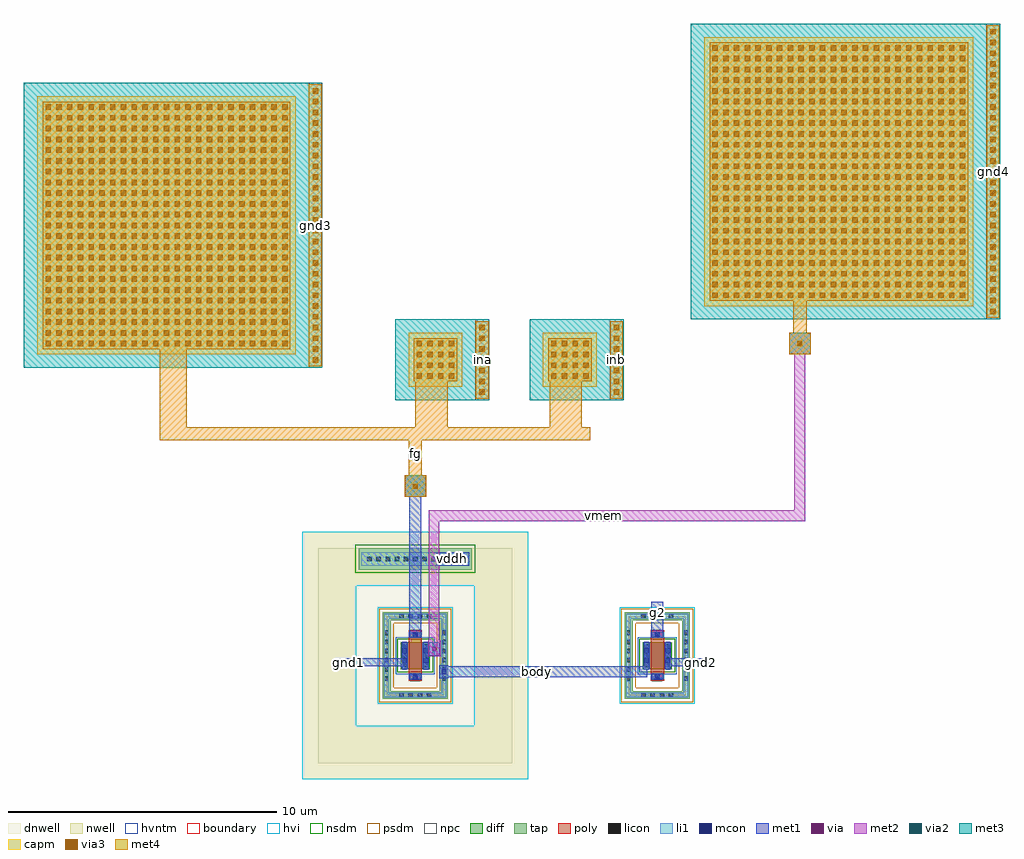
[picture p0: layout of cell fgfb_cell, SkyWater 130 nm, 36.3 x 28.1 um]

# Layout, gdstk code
import gdstk
lib = gdstk.Library(unit=1e-6, precision=1e-09)
def R(c, l, rs):  # rectangles x0, y0, x1, y1
    for r in rs: c.add(gdstk.rectangle(r[:2], r[2:], *l))
def A(c, l, x, y, w, h, nx, ny, dx, dy):  # array of equal rectangles
    R(c, l, [(x+i*dx, y+j*dy, x+i*dx+w, y+j*dy+h) for i in range(nx) for j in range(ny)])
dnwell = (64, 18)
nwell = (64, 20)
diff = (65, 20)
tap = (65, 44)
poly = (66, 20)
licon = (66, 44)
li1 = (67, 20)
mcon = (67, 44)
met1 = (68, 20)
via = (68, 44)
met2 = (69, 20)
via2 = (69, 44)
met3 = (70, 20)
via3 = (70, 44)
met4 = (71, 20)
hvi = (75, 20)
capm = (89, 44)
nsdm = (93, 44)
psdm = (94, 20)
npc = (95, 20)
hvntm = (125, 20)
boundary = (235, 4)

cmem = lib.new_cell('cmem')
R(cmem, met3, [(-5.75,-5.5,5.745,5.5)])
A(cmem, via3, 5.385, -5.3, 0.2, 0.2, 1, 27, 0, 0.4)
A(cmem, via3, -4.95, -4.7, 0.2, 0.2, 24, 24, 0.4, 0.4)
R(cmem, met4, [(5.245,-5.44,5.725,5.44), (-5.055,-4.805,4.555,4.805)])
R(cmem, capm, [(-5.25,-5,4.75,5)])
R(cmem, boundary, [(-5.75,-5.5,5.25,5.5)])

cin = lib.new_cell('cin')
R(cin, met3, [(-1.75,-1.5,1.745,1.5)])
A(cin, via3, 1.385, -1.3, 0.2, 0.2, 1, 7, 0, 0.4)
A(cin, via3, -0.95, -0.7, 0.2, 0.2, 4, 4, 0.4, 0.4)
R(cin, met4, [(1.245,-1.44,1.725,1.44), (-1.055,-0.805,0.555,0.805)])
R(cin, capm, [(-1.25,-1,0.75,1)])
R(cin, boundary, [(-1.75,-1.5,1.25,1.5)])

cfix = lib.new_cell('cfix')
R(cfix, met3, [(-5.55,-5.3,5.545,5.3)])
A(cfix, via3, 5.185, -5.1, 0.2, 0.2, 1, 26, 0, 0.4)
A(cfix, via3, -4.75, -4.5, 0.2, 0.2, 23, 23, 0.4, 0.4)
R(cfix, met4, [(5.045,-5.24,5.525,5.24), (-4.855,-4.605,4.355,4.605)])
R(cfix, capm, [(-5.05,-4.8,4.55,4.8)])
R(cfix, boundary, [(-5.55,-5.3,5.05,5.3)])

nbulk = lib.new_cell('nbulk')
R(nbulk, diff, [(-0.54,-0.5,0.54,0.5)])
R(nbulk, tap, [(-1.21,-1.61,1.21,-1.32), (-1.21,-1.32,-0.92,1.32), (0.92,-1.32,1.21,1.32), (-1.21,1.32,1.21,1.61)])
R(nbulk, poly, [(-0.25,-0.94,0.25,0.94)])
A(nbulk, licon, -0.595, -1.55, 0.17, 0.17, 4, 2, 0.34, 2.93)
A(nbulk, licon, -1.15, -0.935, 0.17, 0.17, 1, 6, 0, 0.34)
A(nbulk, licon, 0.98, -0.935, 0.17, 0.17, 1, 6, 0, 0.34)
A(nbulk, licon, -0.48, -0.425, 0.17, 0.17, 1, 3, 0, 0.34)
A(nbulk, licon, 0.31, -0.425, 0.17, 0.17, 1, 3, 0, 0.34)
R(nbulk, licon, [(-0.085,-0.86,0.085,-0.69), (-0.085,0.69,0.085,0.86)])
R(nbulk, li1, [(-1.15,-1.55,1.15,-1.38), (-1.15,-1.38,-0.98,1.38), (0.98,-1.38,1.15,1.38), (-0.25,-0.86,0.25,-0.69), (-0.48,-0.52,-0.31,0.52), (0.31,-0.52,0.48,0.52), (-0.25,0.69,0.25,0.86), (-1.15,1.38,1.15,1.55)])
R(nbulk, mcon, [(-0.085,-0.86,0.085,-0.69), (-0.48,-0.265,-0.31,-0.095), (0.31,-0.265,0.48,-0.095), (-0.48,0.095,-0.31,0.265), (0.31,0.095,0.48,0.265), (-0.085,0.69,0.085,0.86)])
R(nbulk, met1, [(-0.23,-0.89,0.23,-0.66), (-0.51,-0.5,-0.28,0.5), (0.28,-0.5,0.51,0.5), (-0.23,0.66,0.23,0.89)])
R(nbulk, hvi, [(-1.395,-1.795,1.395,1.795)])
R(nbulk, nsdm, [(-0.665,-0.625,0.665,0.625)])
R(nbulk, psdm, [(-1.335,-1.735,1.335,-1.195), (-1.335,-1.195,-0.795,1.195), (0.795,-1.195,1.335,1.195), (-1.335,1.195,1.335,1.735)])
R(nbulk, npc, [(-0.185,-0.96,0.185,-0.59), (-0.185,0.59,0.185,0.96)])
R(nbulk, hvntm, [(-0.725,-0.685,0.725,0.685)])
R(nbulk, boundary, [(-1.065,-1.465,1.065,1.465)])

nfgfb = lib.new_cell('nfgfb')
R(nfgfb, diff, [(-0.54,-0.5,0.54,0.5)])
R(nfgfb, tap, [(-1.21,-1.61,1.21,-1.32), (-1.21,-1.32,-0.92,1.32), (0.92,-1.32,1.21,1.32), (-1.21,1.32,1.21,1.61)])
R(nfgfb, poly, [(-0.25,-0.94,0.25,0.94)])
A(nfgfb, licon, -0.595, -1.55, 0.17, 0.17, 4, 2, 0.34, 2.93)
A(nfgfb, licon, -1.15, -0.935, 0.17, 0.17, 1, 6, 0, 0.34)
A(nfgfb, licon, 0.98, -0.935, 0.17, 0.17, 1, 6, 0, 0.34)
A(nfgfb, licon, -0.48, -0.425, 0.17, 0.17, 1, 3, 0, 0.34)
A(nfgfb, licon, 0.31, -0.425, 0.17, 0.17, 1, 3, 0, 0.34)
R(nfgfb, licon, [(-0.085,-0.86,0.085,-0.69), (-0.085,0.69,0.085,0.86)])
R(nfgfb, li1, [(-1.15,-1.55,1.15,-1.38), (-1.15,-1.38,-0.98,1.38), (0.98,-1.38,1.15,1.38), (-0.25,-0.86,0.25,-0.69), (-0.48,-0.52,-0.31,0.52), (0.31,-0.52,0.48,0.52), (-0.25,0.69,0.25,0.86), (-1.15,1.38,1.15,1.55)])
R(nfgfb, mcon, [(-0.085,-0.86,0.085,-0.69), (-0.48,-0.265,-0.31,-0.095), (0.31,-0.265,0.48,-0.095), (-0.48,0.095,-0.31,0.265), (0.31,0.095,0.48,0.265), (-0.085,0.69,0.085,0.86)])
R(nfgfb, met1, [(-0.23,-0.89,0.23,-0.66), (-0.51,-0.5,-0.28,0.5), (0.28,-0.5,0.51,0.5), (-0.23,0.66,0.23,0.89)])
R(nfgfb, hvi, [(-1.395,-1.795,1.395,1.795)])
R(nfgfb, nsdm, [(-0.665,-0.625,0.665,0.625)])
R(nfgfb, psdm, [(-1.335,-1.735,1.335,-1.195), (-1.335,-1.195,-0.795,1.195), (0.795,-1.195,1.335,1.195), (-1.335,1.195,1.335,1.735)])
R(nfgfb, npc, [(-0.185,-0.96,0.185,-0.59), (-0.185,0.59,0.185,0.96)])
R(nfgfb, hvntm, [(-0.725,-0.685,0.725,0.685)])
R(nfgfb, boundary, [(-1.065,-1.465,1.065,1.465)])

fgfb_cell = lib.new_cell('fgfb_cell')
R(fgfb_cell, dnwell, [(-3.6,-4,3.6,4)])
R(fgfb_cell, nwell, [(-4.2,-4.6,4.2,-2.6), (-4.2,-2.6,-2.2,2.6), (2.2,-2.6,4.2,2.6), (-4.2,2.6,4.2,4.6)])
R(fgfb_cell, tap, [(-2.1,3.2,2.1,4)])
A(fgfb_cell, licon, -1.785, 3.515, 0.17, 0.17, 11, 1, 0.34, 0)
R(fgfb_cell, li1, [(0.98,-0.75,1.15,-0.45), (-2,3.35,2,3.85)])
R(fgfb_cell, mcon, [(0.98,-0.685,1.15,-0.515), (1.035,3.515,1.205,3.685), (1.395,3.515,1.565,3.685)])
R(fgfb_cell, met1, [(0.9,-0.85,1.23,-0.8), (0.9,-0.8,8.62,-0.4), (-3,-0.4,-0.28,-0.1), (0.9,-0.4,1.23,-0.35), (9.51,-0.4,11,-0.1), (0.28,0,0.92,0.5), (-0.23,0.66,0.23,5.9), (8.77,0.66,9.23,2), (0.8,3.35,2,3.85), (-0.4,5.9,0.4,6.7)])
R(fgfb_cell, via, [(0.635,0.175,0.785,0.325), (-0.075,6.225,0.075,6.375)])
R(fgfb_cell, met2, [(0.48,-0.02,0.94,0.55), (0.5,0.55,0.9,5), (0.5,5,14.5,5.4), (14.1,5.4,14.5,11.2), (-0.4,5.9,0.4,6.7), (13.9,11.2,14.7,12)])
R(fgfb_cell, via2, [(-0.1,6.2,0.1,6.4), (14.2,11.5,14.4,11.7)])
R(fgfb_cell, met3, [(-0.4,5.9,0.4,6.7), (13.9,11.2,14.7,12)])
R(fgfb_cell, via3, [(-0.1,6.2,0.1,6.4), (14.2,11.5,14.4,11.7)])
R(fgfb_cell, met4, [(-0.4,5.9,0.4,6.7), (-0.25,6.7,0.25,8), (-9.5,8,6.5,8.5), (-9.5,8.5,-8.5,16), (0,8.5,1.2,11.2), (5,8.5,6.2,11.2), (2.3,10.5,2.67,11.5), (7.3,10.5,7.67,11.5), (13.9,11.2,14.7,12), (14.05,12,14.55,14), (-3.9,15.5,-3.53,16.5), (21.3,17.5,21.67,18.5)])
R(fgfb_cell, hvi, [(-4.2,-4.6,4.2,-2.6), (-4.2,-2.6,-2.2,2.6), (2.2,-2.6,4.2,2.6), (-4.2,2.6,4.2,4.6)])
R(fgfb_cell, nsdm, [(-2.225,3.075,2.225,4.125)])
fgfb_cell.add(gdstk.Reference(cmem, (16,18)))
fgfb_cell.add(gdstk.Reference(cin, (6,11)))
fgfb_cell.add(gdstk.Reference(cin, (1,11)))
fgfb_cell.add(gdstk.Reference(cfix, (-9,16)))
fgfb_cell.add(gdstk.Reference(nbulk, (9,0)))
fgfb_cell.add(gdstk.Reference(nfgfb, (0,0)))
fgfb_cell.add(gdstk.Label('vddh', (1.4,3.6), layer=68, texttype=5))
fgfb_cell.add(gdstk.Label('fg', (0,7.5), layer=71, texttype=5))
fgfb_cell.add(gdstk.Label('body', (4.5,-0.6), layer=68, texttype=5))
fgfb_cell.add(gdstk.Label('vmem', (7,5.2), layer=69, texttype=5))
fgfb_cell.add(gdstk.Label('gnd1', (-2.5,-0.25), layer=68, texttype=5))
fgfb_cell.add(gdstk.Label('gnd2', (10.6,-0.25), layer=68, texttype=5))
fgfb_cell.add(gdstk.Label('g2', (9,1.6), layer=68, texttype=5))
fgfb_cell.add(gdstk.Label('ina', (2.485,11), layer=71, texttype=5))
fgfb_cell.add(gdstk.Label('inb', (7.485,11), layer=71, texttype=5))
fgfb_cell.add(gdstk.Label('gnd3', (-3.715,16), layer=71, texttype=5))
fgfb_cell.add(gdstk.Label('gnd4', (21.485,18), layer=71, texttype=5))

lib.write_gds('fgfb_cell.gds')
